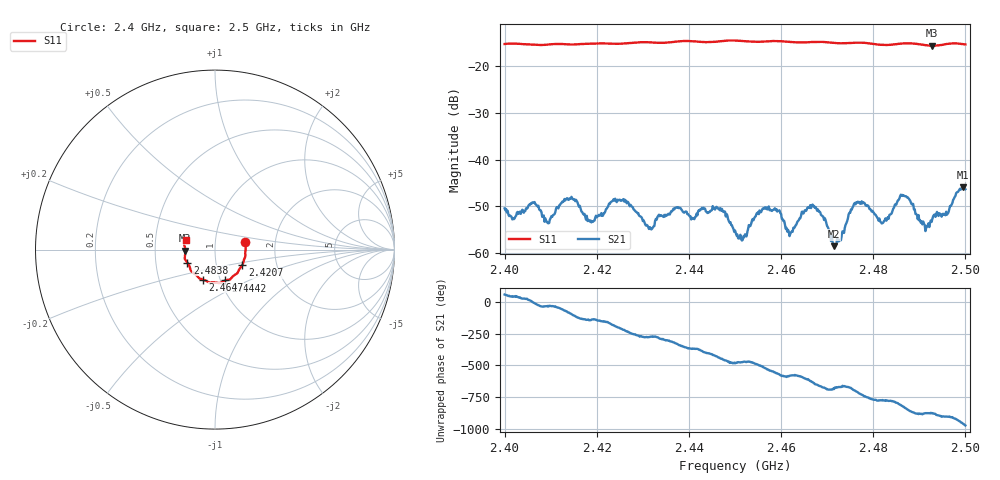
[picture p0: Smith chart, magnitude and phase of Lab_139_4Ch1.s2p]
# Hz S RI R 50
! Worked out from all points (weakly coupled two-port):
!   601 points, 2.4 GHz to 2.5 GHz, reference 50 ohm
!   highest |S21| = -45.86 dB at 2.4995 GHz (marker M1); lowest = -58.5 dB at 2.4715 GHz (marker M2)
!   lowest |S11| = -15.6 dB at 2.4928 GHz (marker M3), VSWR 1.40, Z = 35.8 - j0.397 ohm
!   |S11| at or under -10 dB: start of sweep to end of sweep
!   S12 and S22 are empty: the file has one direction only
!   S11 on the Smith chart (normalised r, x): 2.4 GHz: 1.40, +0.12; 2.4207 GHz: 1.33, -0.24; 2.4442 GHz: 1.05, -0.37; 2.4647 GHz: 0.83, -0.29; 2.4838 GHz: 0.73, -0.11; 2.5 GHz: 0.72, +0.08
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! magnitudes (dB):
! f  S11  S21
! 2.4 GHz  -15.2  -50.4
! 2.4167 GHz  -15.3  -51.1
! 2.4207 GHz  -15.1  -51.9
! 2.4253 GHz  -15.2  -48.7
! 2.4315 GHz  -14.9  -54.4
! 2.4333 GHz  -15.0  -52.0
! 2.4442 GHz  -14.9  -51.4
! 2.45 GHz  -14.5  -55.1
! 2.452 GHz  -14.6  -56.6
! 2.4568 GHz  -14.7  -50.2
! 2.462 GHz  -14.8  -55.8
! 2.4647 GHz  -14.9  -51.1
! 2.4667 GHz  -14.8  -49.8
! 2.4715 GHz  -15.0  -58.5
! 2.4763 GHz  -15.0  -49.1
! 2.4833 GHz  -15.4  -52.6
! 2.4838 GHz  -15.4  -51.6
! 2.4865 GHz  -15.1  -47.7
! 2.4912 GHz  -15.5  -53.9
! 2.4928 GHz  -15.6  -52.6
! 2.4995 GHz  -15.3  -45.9
! 2.5 GHz  -15.3  -46.3
